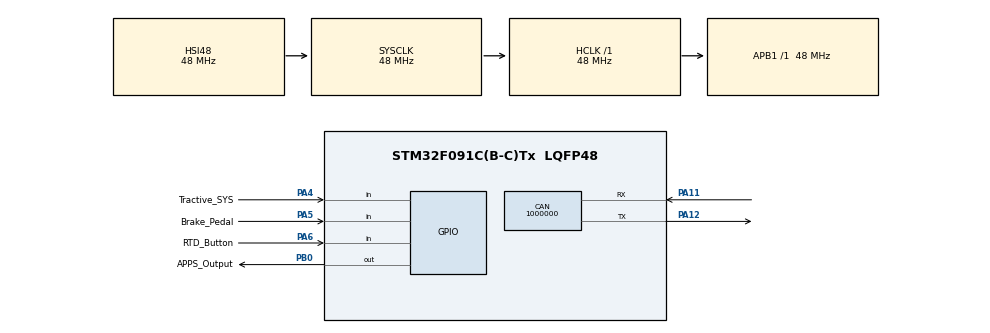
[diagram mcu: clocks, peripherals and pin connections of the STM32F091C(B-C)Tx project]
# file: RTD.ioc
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CAN.CalculateBaudRate=1000000
CAN.CalculateTimeBit=1000
CAN.CalculateTimeQuantum=333.3333333333333
Mcu.Family=STM32F0
Mcu.Name=STM32F091C(B-C)Tx
Mcu.Package=LQFP48
NVIC.TIM2_IRQn=true\:0\:0\:false\:false\:true\:true\:true\:true
PA11.Mode=CAN_Activate
PA11.Signal=CAN_RX
PA12.Mode=CAN_Activate
PA12.Signal=CAN_TX
PA13.Mode=Serial_Wire
PA13.Signal=SYS_SWDIO
PA14.Mode=Serial_Wire
PA14.Signal=SYS_SWCLK
PA4.GPIO_Label=Tractive_SYS
PA4.Signal=GPIO_Input
PA5.GPIO_Label=Brake_Pedal
PA5.Signal=GPIO_Input
PA6.GPIO_Label=RTD_Button
PA6.Signal=GPIO_Input
PA8.GPIO_Label=Speaker_Output
PA8.Signal=S_TIM1_CH1
PB0.GPIO_Label=APPS_Output
PB0.Signal=GPIO_Output
PF0-OSC_IN.Mode=HSE-External-Oscillator
PF0-OSC_IN.Signal=RCC_OSC_IN
PF1-OSC_OUT.Mode=HSE-External-Oscillator
PF1-OSC_OUT.Signal=RCC_OSC_OUT
ProjectManager.HeapSize=0x200
ProjectManager.StackSize=0x400
ProjectManager.TargetToolchain=Makefile
RCC.AHBFreq_Value=48000000
RCC.APB1Freq_Value=48000000
RCC.APB1TimFreq_Value=48000000
RCC.HCLKFreq_Value=48000000
RCC.SYSCLKFreq_VALUE=48000000
RCC.SYSCLKSource=RCC_SYSCLKSOURCE_HSI48
SH.S_TIM1_CH1.0=TIM1_CH1
TIM2.Period=95999
TIM2.Prescaler=999
VP_TIM2_VS_ClockSourceINT.Mode=Internal
board=custom

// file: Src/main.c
/* USER CODE BEGIN Header */
/**
  ******************************************************************************
  * @file           : main.c
  * @brief          : Main program body
  ******************************************************************************
  * @attention
  *
  * Copyright (c) 2025 STMicroelectronics.
  * All rights reserved.
  *
  * This software is licensed under terms that can be found in the LICENSE file
  * in the root directory of this software component.
  * If no LICENSE file comes with this software, it is provided AS-IS.
  *
  ******************************************************************************
  */
/* USER CODE END Header */
#include "main.h"

CAN_HandleTypeDef hcan;

TIM_HandleTypeDef htim2;

void SystemClock_Config(void);
static void MX_GPIO_Init(void);
static void MX_TIM2_Init(void);
static void MX_CAN_Init(void);

int main(void)
{

  /* MCU Configuration--------------------------------------------------------*/

  /* Reset of all peripherals, Initializes the Flash interface and the Systick. */
  HAL_Init();

  /* Configure the system clock */
  SystemClock_Config();

  /* Initialize all configured peripherals */
  MX_GPIO_Init();
  MX_TIM2_Init();
  MX_CAN_Init();

  /* USER CODE BEGIN 2 */
  HAL_TIM_Base_Start_IT(&htim2); // wasn't showing up in code auto generate but tutorial had this so added here

  int timerStartStatus = 0; // used to make sure time doesn't restart if it's already been started
  int *tssPointer = &timerStartStatus;
  // Initialize peripherals connected to GPIO pins
  GPIO_PinState tractiveStatus = HAL_GPIO_ReadPin (GPIOA, GPIO_PIN_4);
  GPIO_PinState brakePedalStatus = HAL_GPIO_ReadPin (GPIOA, GPIO_PIN_5);
  GPIO_PinState buttonStatus = HAL_GPIO_ReadPin (GPIOA, GPIO_PIN_6);
  HAL_GPIO_WritePin (GPIOB, GPIO_PIN_0, GPIO_PIN_SET); // off when high
  /* USER CODE END 2 */

  /* Infinite loop */
  /* USER CODE BEGIN WHILE */
  while (1)
  {
    // check status of pins
    tractiveStatus = HAL_GPIO_ReadPin (GPIOA, GPIO_PIN_4);
    brakePedalStatus = HAL_GPIO_ReadPin (GPIOA, GPIO_PIN_5);
    buttonStatus = HAL_GPIO_ReadPin (GPIOA, GPIO_PIN_6);

    if (tractiveStatus && brakePedalStatus && buttonStatus)
    {
      // set speaker output, if timer hasn't already been started
      if (timerStartStatus == 0)
      {
        HAL_TIM_Base_Start_IT(&htim2); // start timer
        HAL_GPIO_WritePin (GPIOA, GPIO_PIN_7, GPIO_PIN_SET); // set GPIO
        timerStartStatus = 1; // timer has been started
        // see custom HAL_TIM_PeriodElapsedCallback function, when timer interupt occurs then timerStartStatus set to 0 and GPIO_PIN_7 is reset
      }

      // set APPS output, on when low
      HAL_GPIO_WritePin (GPIOB, GPIO_PIN_0, GPIO_PIN_RESET);
    }
    /* USER CODE END WHILE */

  }
}

void SystemClock_Config(void)
{
  RCC_OscInitTypeDef RCC_OscInitStruct = {0};
  RCC_ClkInitTypeDef RCC_ClkInitStruct = {0};

  /** Initializes the RCC Oscillators according to the specified parameters
  * in the RCC_OscInitTypeDef structure.
  */
  RCC_OscInitStruct.OscillatorType = RCC_OSCILLATORTYPE_HSI48;
  RCC_OscInitStruct.HSI48State = RCC_HSI48_ON;
  RCC_OscInitStruct.PLL.PLLState = RCC_PLL_NONE;
  if (HAL_RCC_OscConfig(&RCC_OscInitStruct) != HAL_OK)
  {
    Error_Handler();
  }

  /** Initializes the CPU, AHB and APB buses clocks
  */
  RCC_ClkInitStruct.ClockType = RCC_CLOCKTYPE_HCLK|RCC_CLOCKTYPE_SYSCLK
                              |RCC_CLOCKTYPE_PCLK1;
  RCC_ClkInitStruct.SYSCLKSource = RCC_SYSCLKSOURCE_HSI48;
  RCC_ClkInitStruct.AHBCLKDivider = RCC_SYSCLK_DIV1;
  RCC_ClkInitStruct.APB1CLKDivider = RCC_HCLK_DIV1;

  if (HAL_RCC_ClockConfig(&RCC_ClkInitStruct, FLASH_LATENCY_1) != HAL_OK)
  {
    Error_Handler();
  }
}

static void MX_CAN_Init(void)
{

  hcan.Instance = CAN;
  hcan.Init.Prescaler = 16;
  hcan.Init.Mode = CAN_MODE_NORMAL;
  hcan.Init.SyncJumpWidth = CAN_SJW_1TQ;
  hcan.Init.TimeSeg1 = CAN_BS1_1TQ;
  hcan.Init.TimeSeg2 = CAN_BS2_1TQ;
  hcan.Init.TimeTriggeredMode = DISABLE;
  hcan.Init.AutoBusOff = DISABLE;
  hcan.Init.AutoWakeUp = DISABLE;
  hcan.Init.AutoRetransmission = DISABLE;
  hcan.Init.ReceiveFifoLocked = DISABLE;
  hcan.Init.TransmitFifoPriority = DISABLE;
  if (HAL_CAN_Init(&hcan) != HAL_OK)
  {
    Error_Handler();
  }

}

static void MX_TIM2_Init(void)
{

  TIM_ClockConfigTypeDef sClockSourceConfig = {0};
  TIM_MasterConfigTypeDef sMasterConfig = {0};

  htim2.Instance = TIM2;
  htim2.Init.Prescaler = 999;
  htim2.Init.CounterMode = TIM_COUNTERMODE_UP;
  htim2.Init.Period = 95999;
  htim2.Init.ClockDivision = TIM_CLOCKDIVISION_DIV1;
  htim2.Init.AutoReloadPreload = TIM_AUTORELOAD_PRELOAD_DISABLE;
  if (HAL_TIM_Base_Init(&htim2) != HAL_OK)
  {
    Error_Handler();
  }
  sClockSourceConfig.ClockSource = TIM_CLOCKSOURCE_INTERNAL;
  if (HAL_TIM_ConfigClockSource(&htim2, &sClockSourceConfig) != HAL_OK)
  {
    Error_Handler();
  }
  sMasterConfig.MasterOutputTrigger = TIM_TRGO_RESET;
  sMasterConfig.MasterSlaveMode = TIM_MASTERSLAVEMODE_DISABLE;
  if (HAL_TIMEx_MasterConfigSynchronization(&htim2, &sMasterConfig) != HAL_OK)
  {
    Error_Handler();
  }

}

static void MX_GPIO_Init(void)
{
  GPIO_InitTypeDef GPIO_InitStruct = {0};

  /* GPIO Ports Clock Enable */
  __HAL_RCC_GPIOF_CLK_ENABLE();
  __HAL_RCC_GPIOA_CLK_ENABLE();
  __HAL_RCC_GPIOB_CLK_ENABLE();

  /*Configure GPIO pin Output Level */
  HAL_GPIO_WritePin(APPS_Output_GPIO_Port, APPS_Output_Pin, GPIO_PIN_RESET);

  /*Configure GPIO pins : Tractive_SYS_Pin Brake_Pedal_Pin RTD_Button_Pin */
  GPIO_InitStruct.Pin = Tractive_SYS_Pin|Brake_Pedal_Pin|RTD_Button_Pin;
  GPIO_InitStruct.Mode = GPIO_MODE_INPUT;
  GPIO_InitStruct.Pull = GPIO_NOPULL;
  HAL_GPIO_Init(GPIOA, &GPIO_InitStruct);

  /*Configure GPIO pin : APPS_Output_Pin */
  GPIO_InitStruct.Pin = APPS_Output_Pin;
  GPIO_InitStruct.Mode = GPIO_MODE_OUTPUT_PP;
  GPIO_InitStruct.Pull = GPIO_NOPULL;
  GPIO_InitStruct.Speed = GPIO_SPEED_FREQ_LOW;
  HAL_GPIO_Init(APPS_Output_GPIO_Port, &GPIO_InitStruct);

  /*Configure GPIO pin : Speaker_Output_Pin */
  GPIO_InitStruct.Pin = Speaker_Output_Pin;
  GPIO_InitStruct.Mode = GPIO_MODE_AF_PP;
  GPIO_InitStruct.Pull = GPIO_NOPULL;
  GPIO_InitStruct.Speed = GPIO_SPEED_FREQ_LOW;
  GPIO_InitStruct.Alternate = GPIO_AF2_TIM1;
  HAL_GPIO_Init(Speaker_Output_GPIO_Port, &GPIO_InitStruct);

}

/* USER CODE BEGIN 4 */
void HAL_TIM_PeriodElapsedCallback(TIM_HandleTypeDef* htim)
{
  HAL_GPIO_WritePin (GPIOA, GPIO_PIN_7, GPIO_PIN_RESET);
  // TODO use LED on test board to see if timer is functioning properly
}
/* USER CODE END 4 */

void Error_Handler(void)
{
  __disable_irq();
  while (1)
  {
  }
}
